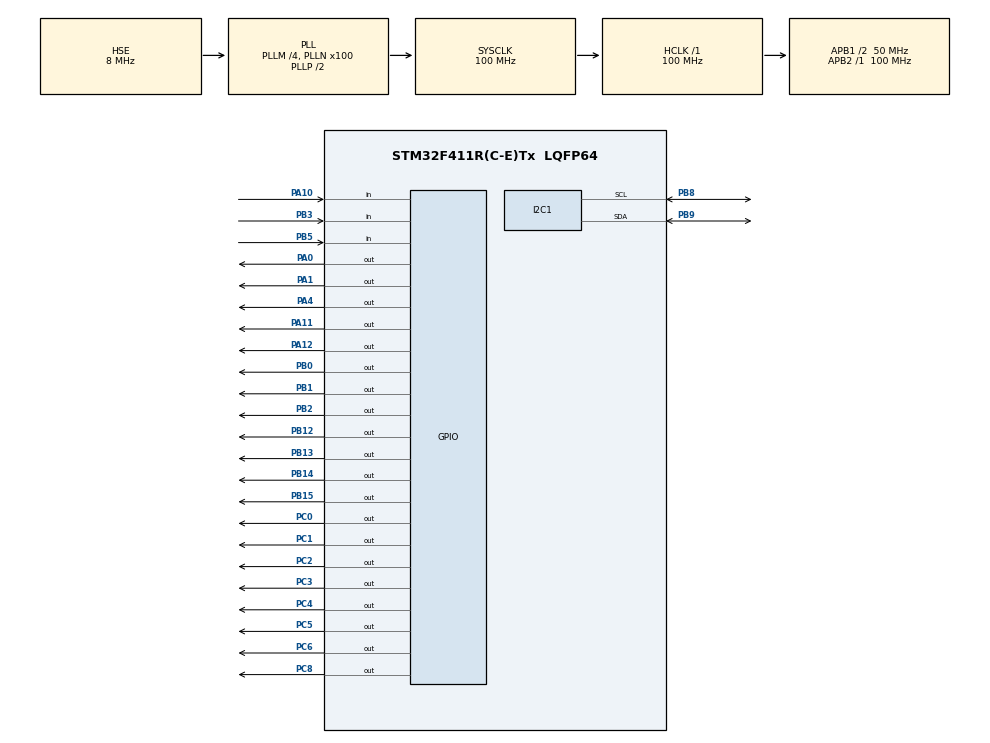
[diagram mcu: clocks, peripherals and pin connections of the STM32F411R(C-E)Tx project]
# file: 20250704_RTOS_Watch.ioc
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FREERTOS.Tasks01=defaultTask,0,128,StartDefaultTask,Default,NULL,Dynamic,NULL,NULL;nyListenerTask,0,128,StartListenerTask,Default,NULL,Dynamic,NULL,NULL;myControllerTas,0,128,StartControllerTask,Default,NULL,Dynamic,NULL,NULL;myPresenterTask,0,128,StartPresenterTask,Default,NULL,Dynamic,NULL,NULL
FREERTOS.configUSE_NEWLIB_REENTRANT=1
I2C1.I2C_Mode=I2C_Standard
Mcu.Family=STM32F4
Mcu.Name=STM32F411R(C-E)Tx
Mcu.Package=LQFP64
NVIC.PriorityGroup=NVIC_PRIORITYGROUP_4
NVIC.TIM1_TRG_COM_TIM11_IRQn=true\:15\:0\:false\:false\:true\:false\:false\:true\:true
NVIC.TIM2_IRQn=true\:5\:0\:false\:false\:true\:true\:true\:true\:true
NVIC.TimeBase=TIM1_TRG_COM_TIM11_IRQn
NVIC.TimeBaseIP=TIM11
PA0-WKUP.Signal=GPIO_Output
PA1.Signal=GPIO_Output
PA10.Signal=GPIO_Input
PA11.Signal=GPIO_Output
PA12.Signal=GPIO_Output
PA13.Mode=Serial_Wire
PA13.Signal=SYS_JTMS-SWDIO
PA14.Mode=Serial_Wire
PA14.Signal=SYS_JTCK-SWCLK
PA4.Signal=GPIO_Output
PB0.Signal=GPIO_Output
PB1.Signal=GPIO_Output
PB12.Signal=GPIO_Output
PB13.Signal=GPIO_Output
PB14.Signal=GPIO_Output
PB15.Signal=GPIO_Output
PB2.Signal=GPIO_Output
PB3.Signal=GPIO_Input
PB5.Signal=GPIO_Input
PB8.Mode=I2C
PB8.Signal=I2C1_SCL
PB9.Mode=I2C
PB9.Signal=I2C1_SDA
PC0.Signal=GPIO_Output
PC1.Signal=GPIO_Output
PC2.Signal=GPIO_Output
PC3.Signal=GPIO_Output
PC4.Signal=GPIO_Output
PC5.Signal=GPIO_Output
PC6.Signal=GPIO_Output
PC8.Signal=GPIO_Output
PH0\ -\ OSC_IN.Mode=HSE-External-Oscillator
PH0\ -\ OSC_IN.Signal=RCC_OSC_IN
PH1\ -\ OSC_OUT.Mode=HSE-External-Oscillator
PH1\ -\ OSC_OUT.Signal=RCC_OSC_OUT
ProjectManager.HeapSize=0x200
ProjectManager.StackSize=0x400
ProjectManager.TargetToolchain=STM32CubeIDE
RCC.48MHZClocksFreq_Value=50000000
RCC.AHBFreq_Value=100000000
RCC.APB1CLKDivider=RCC_HCLK_DIV2
RCC.APB1Freq_Value=50000000
RCC.APB1TimFreq_Value=100000000
RCC.APB2Freq_Value=100000000
RCC.APB2TimFreq_Value=100000000
RCC.CortexFreq_Value=100000000
RCC.HCLKFreq_Value=100000000
RCC.HSE_VALUE=8000000
RCC.HSI_VALUE=16000000
RCC.LSE_VALUE=32768
RCC.PLLM=4
RCC.PLLN=100
RCC.PLLSourceVirtual=RCC_PLLSOURCE_HSE
RCC.SYSCLKFreq_VALUE=100000000
RCC.SYSCLKSource=RCC_SYSCLKSOURCE_PLLCLK
RCC.VCOOutputFreq_Value=200000000
TIM2.AutoReloadPreload=TIM_AUTORELOAD_PRELOAD_ENABLE
TIM2.Period=1000-1
TIM2.Prescaler=100-1
VP_FREERTOS_VS_CMSIS_V1.Mode=CMSIS_V1
VP_SYS_VS_tim11.Mode=TIM11
VP_TIM2_VS_ClockSourceINT.Mode=Internal
board=custom

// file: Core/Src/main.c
/* USER CODE BEGIN Header */
/**
  ******************************************************************************
  * @file           : main.c
  * @brief          : Main program body
  ******************************************************************************
  * @attention
  *
  * Copyright (c) 2025 STMicroelectronics.
  * All rights reserved.
  *
  * This software is licensed under terms that can be found in the LICENSE file
  * in the root directory of this software component.
  * If no LICENSE file comes with this software, it is provided AS-IS.
  *
  ******************************************************************************
  */
/* USER CODE END Header */
#include "main.h"
#include "cmsis_os.h"
#include "i2c.h"
#include "tim.h"
#include "gpio.h"

/* USER CODE BEGIN Includes */
#include "FND.h"
#include "StopWatch.h"
#include "TimeWatch.h"
/* USER CODE END Includes */

void SystemClock_Config(void);
void MX_FREERTOS_Init(void);

int main(void)
{

  /* MCU Configuration--------------------------------------------------------*/

  /* Reset of all peripherals, Initializes the Flash interface and the Systick. */
  HAL_Init();

  /* Configure the system clock */
  SystemClock_Config();

  /* Initialize all configured peripherals */
  MX_GPIO_Init();
  MX_I2C1_Init();
  MX_TIM2_Init();

  /* Call init function for freertos objects (in cmsis_os2.c) */
  MX_FREERTOS_Init();

  /* Start scheduler */
  osKernelStart();

  /* We should never get here as control is now taken by the scheduler */

  /* Infinite loop */
  while (1)
  {

  }
}

void SystemClock_Config(void)
{
  RCC_OscInitTypeDef RCC_OscInitStruct = {0};
  RCC_ClkInitTypeDef RCC_ClkInitStruct = {0};

  /** Configure the main internal regulator output voltage
  */
  __HAL_RCC_PWR_CLK_ENABLE();
  __HAL_PWR_VOLTAGESCALING_CONFIG(PWR_REGULATOR_VOLTAGE_SCALE1);

  /** Initializes the RCC Oscillators according to the specified parameters
  * in the RCC_OscInitTypeDef structure.
  */
  RCC_OscInitStruct.OscillatorType = RCC_OSCILLATORTYPE_HSE;
  RCC_OscInitStruct.HSEState = RCC_HSE_ON;
  RCC_OscInitStruct.PLL.PLLState = RCC_PLL_ON;
  RCC_OscInitStruct.PLL.PLLSource = RCC_PLLSOURCE_HSE;
  RCC_OscInitStruct.PLL.PLLM = 4;
  RCC_OscInitStruct.PLL.PLLN = 100;
  RCC_OscInitStruct.PLL.PLLP = RCC_PLLP_DIV2;
  RCC_OscInitStruct.PLL.PLLQ = 4;
  if (HAL_RCC_OscConfig(&RCC_OscInitStruct) != HAL_OK)
  {
    Error_Handler();
  }

  /** Initializes the CPU, AHB and APB buses clocks
  */
  RCC_ClkInitStruct.ClockType = RCC_CLOCKTYPE_HCLK|RCC_CLOCKTYPE_SYSCLK
                              |RCC_CLOCKTYPE_PCLK1|RCC_CLOCKTYPE_PCLK2;
  RCC_ClkInitStruct.SYSCLKSource = RCC_SYSCLKSOURCE_PLLCLK;
  RCC_ClkInitStruct.AHBCLKDivider = RCC_SYSCLK_DIV1;
  RCC_ClkInitStruct.APB1CLKDivider = RCC_HCLK_DIV2;
  RCC_ClkInitStruct.APB2CLKDivider = RCC_HCLK_DIV1;

  if (HAL_RCC_ClockConfig(&RCC_ClkInitStruct, FLASH_LATENCY_3) != HAL_OK)
  {
    Error_Handler();
  }
}

void HAL_TIM_PeriodElapsedCallback(TIM_HandleTypeDef *htim)
{
  if (htim->Instance == TIM11)
  {
    HAL_IncTick();
  }
  /* USER CODE BEGIN Callback 1 */
	  if(htim->Instance == TIM2) {
		 FND_DispDataCallBack();
		 StopWatch_IncTimeCallBack();
		 timeWatch_IncTimeCallBack();

	  }
  /* USER CODE END Callback 1 */
}

void Error_Handler(void)
{
  __disable_irq();
  while (1)
  {
  }
}

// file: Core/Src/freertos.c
/* USER CODE BEGIN Header */
/**
  ******************************************************************************
  * File Name          : freertos.c
  * Description        : Code for freertos applications
  ******************************************************************************
  * @attention
  *
  * Copyright (c) 2025 STMicroelectronics.
  * All rights reserved.
  *
  * This software is licensed under terms that can be found in the LICENSE file
  * in the root directory of this software component.
  * If no LICENSE file comes with this software, it is provided AS-IS.
  *
  ******************************************************************************
  */
/* USER CODE END Header */

#include "FreeRTOS.h"
#include "task.h"
#include "main.h"
#include "cmsis_os.h"

/* USER CODE BEGIN Includes */
#include "Button.h"
#include "LedBar.h"
#include <stdio.h>
#include "tim.h"
#include "FND.h"
#include "Listener.h"
#include "Controller.h"
#include "Presenter.h"
#include "Model_StopWatch.h"
#include "Model_TimeWatch.h"
#include "Model_Mode.h"
/* USER CODE END Includes */

/* USER CODE BEGIN PTD */
typedef struct {
	int id;
}btn_led_t;

enum {BTN_LED1, BTN_LED2, BTN_LED3};
enum {START, STOP, CLEAR};
/* USER CODE END PTD */

/* USER CODE BEGIN Variables */

//btn_led_t btnData;

osMailQDef(btnMail, 4, btn_led_t);
osMailQId btnMail;

osMailQDef(btnFndMail, 4, btn_led_t);
osMailQId btnFndMail;

/* USER CODE END Variables */
osThreadId defaultTaskHandle;
osThreadId nyListenerTaskHandle;
osThreadId myControllerTasHandle;
osThreadId myPresenterTaskHandle;

void StartDefaultTask(void const * argument);
void StartListenerTask(void const * argument);
void StartControllerTask(void const * argument);
void StartPresenterTask(void const * argument);

void MX_FREERTOS_Init(void); /* (MISRA C 2004 rule 8.1) */

/* GetIdleTaskMemory prototype (linked to static allocation support) */
void vApplicationGetIdleTaskMemory( StaticTask_t **ppxIdleTaskTCBBuffer, StackType_t **ppxIdleTaskStackBuffer, uint32_t *pulIdleTaskStackSize );

/* USER CODE BEGIN GET_IDLE_TASK_MEMORY */
static StaticTask_t xIdleTaskTCBBuffer;
static StackType_t xIdleStack[configMINIMAL_STACK_SIZE];

void vApplicationGetIdleTaskMemory( StaticTask_t **ppxIdleTaskTCBBuffer, StackType_t **ppxIdleTaskStackBuffer, uint32_t *pulIdleTaskStackSize )
{
  *ppxIdleTaskTCBBuffer = &xIdleTaskTCBBuffer;
  *ppxIdleTaskStackBuffer = &xIdleStack[0];
  *pulIdleTaskStackSize = configMINIMAL_STACK_SIZE;
  /* place for user code */
}
/* USER CODE END GET_IDLE_TASK_MEMORY */

void MX_FREERTOS_Init(void) {
  /* USER CODE BEGIN Init */
	Model_StopWatchInit();
	Model_modeInit();
	Model_timeWatchInit();
  /* USER CODE END Init */

  /* USER CODE BEGIN RTOS_QUEUES */
  /* add queues, ... */
  btnMail = osMailCreate(osMailQ(btnMail), NULL);
  btnFndMail = osMailCreate(osMailQ(btnFndMail), NULL);
  /* USER CODE END RTOS_QUEUES */

  /* Create the thread(s) */
  /* definition and creation of defaultTask */
  osThreadDef(defaultTask, StartDefaultTask, osPriorityNormal, 0, 128);
  defaultTaskHandle = osThreadCreate(osThread(defaultTask), NULL);

  /* definition and creation of nyListenerTask */
  osThreadDef(nyListenerTask, StartListenerTask, osPriorityNormal, 0, 128);
  nyListenerTaskHandle = osThreadCreate(osThread(nyListenerTask), NULL);

  /* definition and creation of myControllerTas */
  osThreadDef(myControllerTas, StartControllerTask, osPriorityNormal, 0, 128);
  myControllerTasHandle = osThreadCreate(osThread(myControllerTas), NULL);

  /* definition and creation of myPresenterTask */
  osThreadDef(myPresenterTask, StartPresenterTask, osPriorityNormal, 0, 128);
  myPresenterTaskHandle = osThreadCreate(osThread(myPresenterTask), NULL);

  /* USER CODE BEGIN RTOS_THREADS */
  /* add threads, ... */
  HAL_TIM_Base_Start_IT(&htim2);
  /* USER CODE END RTOS_THREADS */

}

void StartDefaultTask(void const * argument)
{
  for(;;)
  {
    osDelay(1);
  }
}

void StartListenerTask(void const * argument)
{
  /* USER CODE BEGIN StartListenerTask */
	Listener_Init();
  /* Infinite loop */
  for(;;)
  {
	  Listener_Excute();

    osDelay(1);
  }
  /* USER CODE END StartListenerTask */
}

void StartControllerTask(void const * argument)
{
  /* USER CODE BEGIN StartControllerTask */
	Controller_Init();
  /* Infinite loop */
  for(;;)
  {
Controller_Excute();
    osDelay(1);
  }
  /* USER CODE END StartControllerTask */
}

void StartPresenterTask(void const * argument)
{
  /* USER CODE BEGIN StartPresenterTask */
	Presenter_Init();
  /* Infinite loop */
  for(;;)
  {
	  Presenter_Excute();
    osDelay(1);
  }
  /* USER CODE END StartPresenterTask */
}
